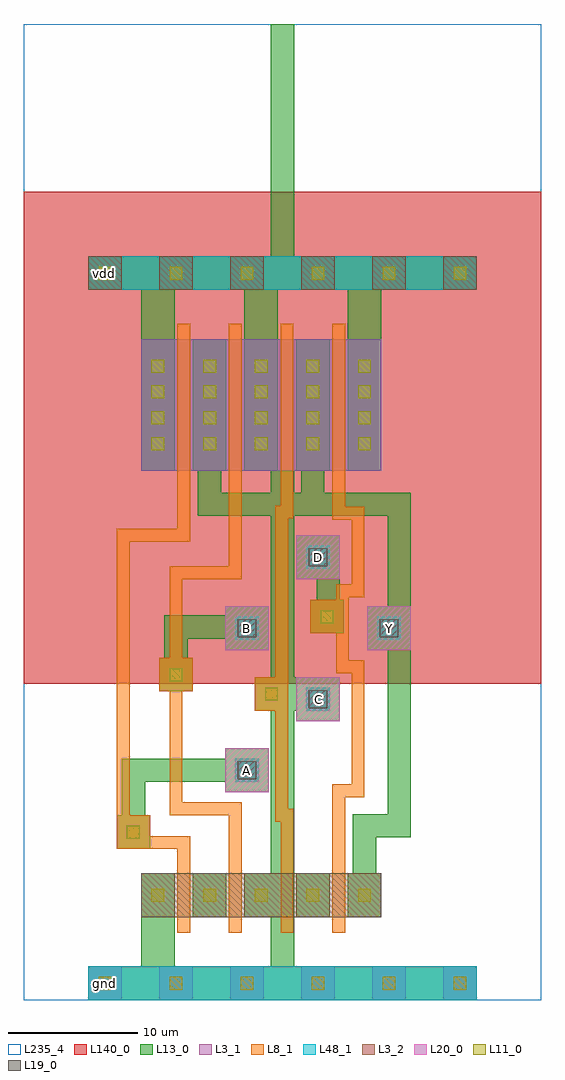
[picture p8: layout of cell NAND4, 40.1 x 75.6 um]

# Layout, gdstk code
import gdstk
lib = gdstk.Library(unit=1e-6, precision=1e-09)
def R(c, l, rs):  # rectangles x0, y0, x1, y1
    for r in rs: c.add(gdstk.rectangle(r[:2], r[2:], *l))
def A(c, l, x, y, w, h, nx, ny, dx, dy):  # array of equal rectangles
    R(c, l, [(x+i*dx, y+j*dy, x+i*dx+w, y+j*dy+h) for i in range(nx) for j in range(ny)])
def P(c, l, *ps):  # polygons
    for p in ps: c.add(gdstk.Polygon(p, *l))
L3_1 = (3, 1)
L3_2 = (3, 2)
L8_1 = (8, 1)
L11_0 = (11, 0)
L13_0 = (13, 0)
L19_0 = (19, 0)
L20_0 = (20, 0)
L48_1 = (48, 1)
L140_0 = (140, 0)
L235_4 = (235, 4)

nand4 = lib.new_cell('NAND4')
A(nand4, L3_1, 5, 0, 2.6, 2.6, 6, 1, 5.5, 0)
R(nand4, L3_1, [(9.1,41,27.7,51.2)])
A(nand4, L3_2, 5, 55, 2.6, 2.6, 6, 1, 5.5, 0)
R(nand4, L3_2, [(9.1,6.4,27.7,9.8)])
P(nand4, L8_1, [(11.9,5.2),(11.9,11.7),(7.2,11.7),(7.2,36.5),(11.9,36.5),(11.9,52.4),(12.9,52.4),(12.9,35.5),(8.2,35.5),(8.2,14.3),(9.8,14.3),(9.8,12.7),(12.9,12.7),(12.9,5.2)],
  [(15.9,5.2),(15.9,14.3),(11.3,14.3),(11.3,23.9),(10.5,23.9),(10.5,26.5),(11.3,26.5),(11.3,33.6),(15.9,33.6),(15.9,52.4),(16.9,52.4),(16.9,32.6),(12.3,32.6),(12.3,26.5),(13.1,26.5),(13.1,23.9),(12.3,23.9),(12.3,15.3),(16.9,15.3),(16.9,5.2)],
  [(19.9,5.2),(19.9,13.8),(19.5,13.8),(19.5,22.4),(17.9,22.4),(17.9,25),(19.5,25),(19.5,38.3),(19.9,38.3),(19.9,52.4),(20.9,52.4),(20.9,37.3),(20.5,37.3),(20.5,14.8),(20.9,14.8),(20.9,5.2)],
  [(23.9,5.2),(23.9,16.7),(25.4,16.7),(25.4,25.3),(24.2,25.3),(24.2,28.4),(22.2,28.4),(22.2,31),(24.2,31),(24.2,32.2),(25.4,32.2),(25.4,37.2),(23.9,37.2),(23.9,52.4),(24.9,52.4),(24.9,38.2),(26.4,38.2),(26.4,31.2),(25.2,31.2),(25.2,26.3),(26.4,26.3),(26.4,15.7),(24.9,15.7),(24.9,5.2)])
A(nand4, L11_0, 5.8, 0.8, 1, 1, 6, 2, 5.5, 55)
A(nand4, L11_0, 9.9, 42.6, 1, 1, 1, 4, 0, 2)
A(nand4, L11_0, 25.9, 42.6, 1, 1, 1, 4, 0, 2)
R(nand4, L11_0, [(9.9,7.6,10.9,8.6), (13.9,7.6,14.9,8.6), (13.9,7.6,14.9,8.6), (17.9,7.6,18.9,8.6), (17.9,7.6,18.9,8.6), (21.9,7.6,22.9,8.6), (21.9,7.6,22.9,8.6), (25.9,7.6,26.9,8.6), (8,12.5,9,13.5), (18.7,23.2,19.7,24.2), (11.3,24.7,12.3,25.7), (23,29.2,24,30.2), (13.9,42.6,14.9,43.6), (13.9,42.6,14.9,43.6), (17.9,42.6,18.9,43.6), (17.9,42.6,18.9,43.6), (21.9,42.6,22.9,43.6), (21.9,42.6,22.9,43.6), (13.9,44.6,14.9,45.6), (13.9,44.6,14.9,45.6), (17.9,44.6,18.9,45.6), (17.9,44.6,18.9,45.6), (21.9,44.6,22.9,45.6), (21.9,44.6,22.9,45.6), (13.9,46.6,14.9,47.6), (13.9,46.6,14.9,47.6), (17.9,46.6,18.9,47.6), (17.9,46.6,18.9,47.6), (21.9,46.6,22.9,47.6), (21.9,46.6,22.9,47.6), (13.9,48.6,14.9,49.6), (13.9,48.6,14.9,49.6), (17.9,48.6,18.9,49.6), (17.9,48.6,18.9,49.6), (21.9,48.6,22.9,49.6), (21.9,48.6,22.9,49.6)])
R(nand4, L13_0, [(13.1,6.4,15.7,9.8), (21.1,6.4,23.7,9.8)])
P(nand4, L13_0, [(7.2,11.7),(7.2,14.3),(7.6,14.3),(7.6,18.7),(15.6,18.7),(15.6,19.5),(19,19.5),(19,16.1),(15.6,16.1),(15.6,16.9),(9.4,16.9),(9.4,14.3),(9.8,14.3),(9.8,11.7)],
  [(10.5,23.9),(10.5,26.5),(10.9,26.5),(10.9,29.8),(15.6,29.8),(15.6,30.5),(19,30.5),(19,27.1),(15.6,27.1),(15.6,28),(12.7,28),(12.7,26.5),(13.1,26.5),(13.1,23.9)],
  [(22.2,28.4),(22.2,31),(22.7,31),(22.7,32.6),(21.1,32.6),(21.1,36),(24.5,36),(24.5,31),(24.8,31),(24.8,28.4)],
  [(5,0),(5,2.6),(9.1,2.6),(9.1,9.8),(11.7,9.8),(11.7,2.6),(19.15,2.6),(19.15,6.4),(17.1,6.4),(17.1,9.8),(19.15,9.8),(19.15,22.4),(17.9,22.4),(17.9,25),(19.15,25),(19.15,37.5),(13.5,37.5),(13.5,41),(13.1,41),(13.1,51.2),(15.7,51.2),(15.7,41),(15.3,41),(15.3,39.3),(19.15,39.3),(19.15,41),(17.1,41),(17.1,55),(11.7,55),(11.7,41),(9.1,41),(9.1,55),(5,55),(5,57.6),(19.15,57.6),(19.15,75.6),(20.95,75.6),(20.95,57.6),(35.1,57.6),(35.1,55),(27.7,55),(27.7,41),(25.1,41),(25.1,55),(19.7,55),(19.7,41),(20.95,41),(20.95,39.3),(21.5,39.3),(21.5,41),(21.1,41),(21.1,51.2),(23.7,51.2),(23.7,41),(23.3,41),(23.3,39.3),(30,39.3),(30,12.6),(27.3,12.6),(27.3,9.8),(27.7,9.8),(27.7,6.4),(25.1,6.4),(25.1,9.8),(25.5,9.8),(25.5,14.4),(28.2,14.4),(28.2,27.1),(26.6,27.1),(26.6,30.5),(28.2,30.5),(28.2,37.5),(20.95,37.5),(20.95,25),(24.5,25),(24.5,21.6),(21.1,21.6),(21.1,22.4),(20.95,22.4),(20.95,2.6),(35.1,2.6),(35.1,0)])
R(nand4, L19_0, [(16.6,17.1,18,18.5), (22.1,22.6,23.5,24), (16.6,28.1,18,29.5), (27.6,28.1,29,29.5), (22.1,33.6,23.5,35)])
R(nand4, L20_0, [(15.6,16.1,19,19.5), (21.1,21.6,24.5,25), (15.6,27.1,19,30.5), (26.6,27.1,30,30.5), (21.1,32.6,24.5,36)])
R(nand4, L48_1, [(5,0,35.1,2.6), (16.4,16.9,18.2,18.7), (21.9,22.4,23.7,24.2), (16.4,27.9,18.2,29.7), (27.4,27.9,29.2,29.7), (21.9,33.4,23.7,35.2), (5,55,35.1,57.6)])
R(nand4, L140_0, [(0,24.5,40.1,62.6)])
R(nand4, L235_4, [(0,0,40.1,75.6)])
nand4.add(gdstk.Label('Y', (28.3,28.8), layer=48, texttype=0))
nand4.add(gdstk.Label('A', (17.3,17.8), layer=48, texttype=0))
nand4.add(gdstk.Label('B', (17.3,28.8), layer=48, texttype=0))
nand4.add(gdstk.Label('C', (22.8,23.3), layer=48, texttype=0))
nand4.add(gdstk.Label('D', (22.8,34.3), layer=48, texttype=0))
nand4.add(gdstk.Label('vdd', (6.3,56.3), layer=48, texttype=0))
nand4.add(gdstk.Label('gnd', (6.3,1.3), layer=48, texttype=0))
nand4.add(gdstk.Label('A', (17.3,17.8), layer=49, texttype=0))
nand4.add(gdstk.Label('B', (17.3,28.8), layer=49, texttype=0))
nand4.add(gdstk.Label('C', (22.8,23.3), layer=49, texttype=0))
nand4.add(gdstk.Label('D', (22.8,34.3), layer=49, texttype=0))
nand4.add(gdstk.Label('Y', (28.3,28.8), layer=49, texttype=0))

lib.write_gds('NAND4.gds')
